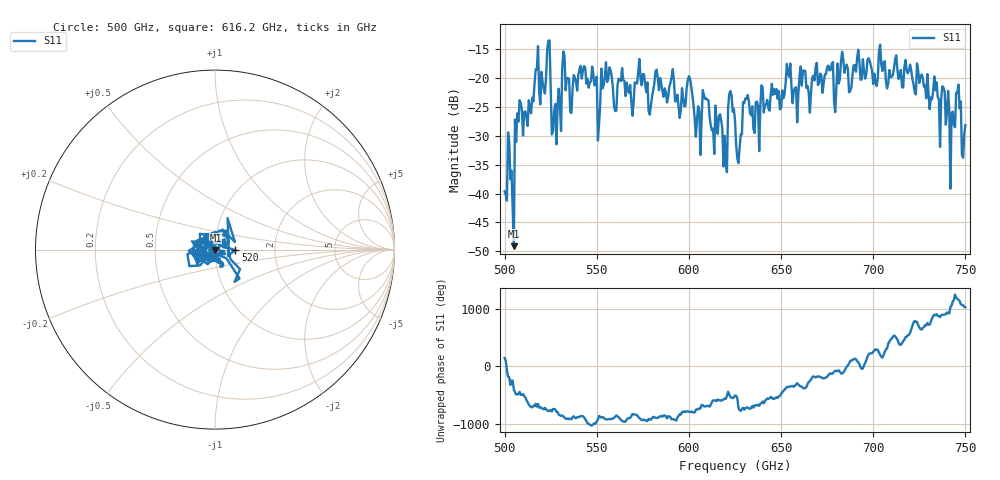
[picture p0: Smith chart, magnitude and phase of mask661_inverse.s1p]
!Created with skrf (http://scikit-rf.org).
# GHz S MA R 50.0
!freq magS11 angS11
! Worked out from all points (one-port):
!   401 points, 500 GHz to 750 GHz, reference 50 ohm
!   lowest |S11| = -49.1 dB at 505 GHz (marker M1), VSWR 1.01, Z = 50.3 - j0.227 ohm
!   |S11| at or under -10 dB: start of sweep to end of sweep
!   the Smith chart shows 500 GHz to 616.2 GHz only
!   S11 on the Smith chart (normalised r, x): 500 GHz: 0.98, +0.01; 520 GHz: 1.26, -0.01; 616.2 GHz: 0.94, +0.06
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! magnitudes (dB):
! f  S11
! 500 GHz  -39.6
! 505 GHz  -49.1
! 508.1 GHz  -23.8
! 520 GHz  -18.9
! 523.8 GHz  -13.5
! 526.9 GHz  -25.8
! 531.2 GHz  -18.3
! 542.5 GHz  -18.7
! 550.6 GHz  -30.8
! 562.5 GHz  -20.4
! 590.6 GHz  -19.8
! 593.8 GHz  -22.9
! 600 GHz  -19.7
! 605 GHz  -24.9
! 608.8 GHz  -23.6
! 616.2 GHz  -26.7
! 619.4 GHz  -30.0
! 622.5 GHz  -22.3
! 625 GHz  -27.3
! 626.9 GHz  -34.7
! 630.6 GHz  -23.5
! 636.9 GHz  -24.1
! 656.2 GHz  -24.3
! 687.5 GHz  -22.3
! 718.8 GHz  -19.2
! 743.1 GHz  -25.8
! 746.2 GHz  -21.1
! 750 GHz  -28.2
